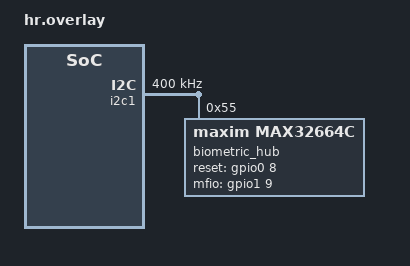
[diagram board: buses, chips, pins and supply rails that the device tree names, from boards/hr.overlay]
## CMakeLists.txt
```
# Copyright (c) 2025 ZSWatch Project
# SPDX-License-Identifier: Apache-2.0

if(CONFIG_SENSOR_MAX32664C)
  zephyr_include_directories(include)
endif()

add_subdirectory_ifdef(CONFIG_SENSOR drivers)
```

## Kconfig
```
menu "Zephyr Kernel"
    source "Kconfig.zephyr"
endmenu

menu "HR-Demo"
    menu "Custom drivers"
        rsource "drivers/Kconfig"
    endmenu
endmenu
```

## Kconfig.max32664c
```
# Copyright (c) 2025 ZSWatch Project
# SPDX-License-Identifier: Apache-2.0

rsource "drivers/Kconfig"
```

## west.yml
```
manifest:
  self:
    path: max32664c

  remotes:
    - name: sdk
      url-base: https://github.com/nrfconnect

  group-filter:
    - -optional

  projects:
    - name: sdk-nrf
      remote: sdk
      revision: v3.0.2
      path: nrf
      import:
        name-blocklist:
          - ci-tools
          - hal_altera
          - hal_cypress
          - hal_infineon
          - hal_microchip
          - hal_nxp
          - hal_openisa
          - hal_silabs
          - hal_xtensa
          - hal_ti
          - loramac-node
          - net-tools
          - edtt
          - trusted-firmware-m
          - sof
          - matter
      clone-depth: 1
```

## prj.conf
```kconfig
CONFIG_CLOCK_CONTROL=y
CONFIG_CLOCK_CONTROL_NRF_K32SRC_RC=y

CONFIG_SENSOR=y

CONFIG_LOG=y
CONFIG_LOG_PRINTK=y
CONFIG_I2C=y

CONFIG_HEAP_MEM_POOL_SIZE=16384

CONFIG_BT=y
CONFIG_BT_SMP=y
CONFIG_BT_PERIPHERAL=y
CONFIG_BT_DIS=y
CONFIG_BT_DIS_PNP=n
CONFIG_BT_BAS=y
CONFIG_BT_HRS=y
CONFIG_BT_DEVICE_NAME="Zephyr Heartrate Sensor"
CONFIG_BT_DEVICE_APPEARANCE=833

CONFIG_DEBUG_OPTIMIZATIONS=y
CONFIG_USE_SEGGER_RTT=y
CONFIG_LOG_BACKEND_RTT=y
CONFIG_LOG_BACKEND_RTT_MODE_BLOCK=y
CONFIG_LOG_BUFFER_SIZE=4096
CONFIG_LOG_BACKEND_RTT_OUTPUT_BUFFER_SIZE=128
CONFIG_LOG_BLOCK_IN_THREAD=y

CONFIG_MAXIM_MAX32664C_LOG_LEVEL_INF=y
CONFIG_MAX32664C_USE_MAX86141=y
CONFIG_MAX32664C_ACC_ID=0x43
```

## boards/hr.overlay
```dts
/ {
    aliases {
        sensor = &biometric_hub;
    };
};

&i2c1 {
    compatible = "nordic,nrf-twim";
    status = "okay";
    clock-frequency = <400000>;
    zephyr,flash-buf-max-size = <8250>;
};

&i2c1 {
    biometric_hub: max32664c@55 {
        compatible = "maxim,max32664c";
        reg = <0x55>;
        status = "okay";
        reset-gpios = <&gpio0 8 GPIO_ACTIVE_HIGH>;
        mfio-gpios = <&gpio1 9 GPIO_ACTIVE_HIGH>;
        motion-time = <200>;
        motion-threshold = <500>;
    };
};
```

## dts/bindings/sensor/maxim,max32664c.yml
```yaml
description: |
  The MAX32664 is a ultra-low power biometric sensor hub.

  NOTES:
  This driver is primarily written to work with a MAX86141. Other sensors can be
  used but they are untested! The driver supports up to two photodetectors (PDs)
  and three LEDs fix. It requires a specific LED
  configuration for the MAX86141.
    LED1 -> Green
    LED2 -> IR
    LED3 -> Red
  The LEDs can be changed manually but this may require changes in the driver.

  This driver is tested with Sensor Hub firmware 30.13.31 and an external
  Accelerometer (e.g. LIS2DH12).

  See more info at:
  https://www.analog.com/media/en/technical-documentation/data-sheets/MAX32664.pdf

compatible: "maxim,max32664c"

include: [sensor-device.yaml, i2c-device.yaml]

properties:
  reset-gpios:
    type: phandle-array
    required: true
    description:
      External System Reset (Active-Low) Input.

  mfio-gpios:
    type: phandle-array
    required: true
    description:
      MFIO asserts low as an output when the sensor hub needs to
      communication with the host; MFIO acts as an input and when held
      low during a reset, the sensor hub enters bootloader mode.

  use-max86141:
    type: boolean
    description:
      Use the MAX86141 as the AFE for the MAX32664C. This is the
      default and recommended configuration. The driver is optimized for
      this sensor.

  use-max86161:
    type: boolean
    description:
      Use the MAX86161 as the AFE for the MAX32664C.

  motion-time:
    type: int
    default: 200
    description:
      Sensor Hub configuration - Motion activation time in milliseconds.
      The default corresponds to Table 12 in the HR and SpO2 User guide.

  motion-threshold:
    type: int
    default: 500
    description:
      Sensor Hub configuration - Motion activation time in milli-g.
      The default corresponds to Table 12 in the HR and SpO2 User guide.

  report-period:
    type: int
    default: 1
    description:
      Sensor Hub configuration - Set the samples report period (e.g., a value
      of 25 means a samples report is generated once every 25 samples).
      The default corresponds to Table 16 in the HR and SpO2 User guide.

  spo2-calib:
    type: array
    default: [0xFFE69196, 0x000CB735, 0x00989680]
    description:
      Algorithm configuration - SpO2 calibration coefficients.
      The default corresponds to Table 12 in the HR and SpO2 User guide.

  min-integration-time:
    type: int
    default: 14
    enum:
      - 14
      - 29
      - 58
      - 117
    description:
      Algorithm configuration - Minimum integration time in microseconds.
      The default corresponds to Table 11 in the HR and SpO2 User guide.

  min-sampling-rate:
    type: int
    default: 50
    enum:
      - 25
      - 50
      - 100
      - 200
      - 400
    description:
      Algorithm configuration - Minimum sampling rate (samples per second)
      and averaging (samples).
      The default corresponds to Table 11 in the HR and SpO2 User guide.

  max-integration-time:
    type: int
    default: 117
    enum:
      - 14
      - 29
      - 58
      - 117
    description:
      Algorithm configuration - Maximum integration time in microseconds.
      The default corresponds to Table 11 in the HR and SpO2 User guide.

  max-sampling-rate:
    type: int
    default: 100
    enum:
      - 25
      - 50
      - 100
      - 200
      - 400
    description:
      Algorithm configuration - Maximum sampling rate (samples per second)
      and averaging (samples).
      The default corresponds to Table 11 in the HR and SpO2 User guide.

  led-current:
    type: uint8-array
    default: [0x7F, 0x7F, 0x7F]
    description:
      Initial LED current configuration in bits. Please check the datasheet
      of the attached AFE to determine the appropriate values.
      The current can also be changed later by the firmware.
      Index 0 corresponds to LED1, index 1 to LED2, and index 2 to LED3.
      The default corresponds to Table 5 in the HR and SpO2 User guide.

  hr-config:
    type: uint8-array
    default: [0x00, 0x01]
    description:
      Algorithm configuration - LED and PD configuration for the heartrate measurement.
      The first entry configures channel 1, the second channel 2.
      The default corresponds to Table 15 in the HR and SpO2 User guide.

  spo2-config:
    type: uint8-array
    default: [0x10, 0x20]
    description:
      Algorithm configuration - LED and PD configuration for the SpO2 measurement.
      The first entry configures the IR channel, the second the red channel.
      The default corresponds to Table 15 in the HR and SpO2 User guide.

  led-config:
    type: uint8-array
    default: [0x12, 0x30, 0x00]
    description:
      Algorithm configuration - LED configuration for HR and SpO2 measurement.
      The first entry configures slot 1 and 2, the second configures slot 4 and 5 and
      the last entry configures slot 5 and 6.
      The default corresponds to Table 15 in the HR and SpO2 User guide.
      Slot 1 = LED 1, Slot 2 = LED 2, Slot 3 = LED 3.
```

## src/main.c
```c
#include <zephyr/kernel.h>
#include <zephyr/devicetree.h>
#include <zephyr/logging/log.h>
#include <zephyr/drivers/sensor.h>

#include <zephyr/bluetooth/bluetooth.h>
#include <zephyr/bluetooth/hci.h>
#include <zephyr/bluetooth/conn.h>
#include <zephyr/bluetooth/uuid.h>
#include <zephyr/bluetooth/gatt.h>
#include <zephyr/bluetooth/services/bas.h>
#include <zephyr/bluetooth/services/hrs.h>

#include "Loader/max32664c_bl.h"
#include "firmware/max32664c_kx122_z_32_9_23.h"
#include "firmware/MAX32664C_HSP2_WHRM_AEC_SCD_WSPO2_C_30_13_31.h"

#include "../drivers/sensor/max32664c/max32664c.h"

#define BLE_CONNECTED               1U
#define BLE_DISCONNECTED            2U

static void auth_cancel(struct bt_conn *conn);
static void hrs_ntf_changed(bool enabled);
static void connected(struct bt_conn *conn, uint8_t err);
static void disconnected(struct bt_conn *conn, uint8_t reason);

static ATOMIC_DEFINE(state, 2U);
static bool hrf_ntf_enabled;

static const struct bt_data ad[] = {
    BT_DATA_BYTES(BT_DATA_FLAGS, (BT_LE_AD_GENERAL | BT_LE_AD_NO_BREDR)),
    BT_DATA_BYTES(BT_DATA_UUID16_ALL,
                BT_UUID_16_ENCODE(BT_UUID_HRS_VAL),
                BT_UUID_16_ENCODE(BT_UUID_BAS_VAL),
                BT_UUID_16_ENCODE(BT_UUID_DIS_VAL)),
};

static struct bt_conn_auth_cb auth_cb_display = {
    .cancel = auth_cancel,
};

static struct bt_hrs_cb hrs_cb = {
    .ntf_changed = hrs_ntf_changed,
};

struct bt_le_adv_param adv_param = {
    .options = BT_LE_ADV_OPT_CONNECTABLE | BT_LE_ADV_OPT_USE_NAME,
    .interval_min = BT_GAP_ADV_SLOW_INT_MIN,
    .interval_max = BT_GAP_ADV_SLOW_INT_MAX,
};

const struct device *const sensor_hub = DEVICE_DT_GET(DT_ALIAS(sensor));

BT_CONN_CB_DEFINE(conn_callbacks) = {
    .connected = connected,
    .disconnected = disconnected,
};

LOG_MODULE_REGISTER(main, LOG_LEVEL_DBG);

void auth_cancel(struct bt_conn *conn)
{
    char addr[BT_ADDR_LE_STR_LEN];

    bt_addr_le_to_str(bt_conn_get_dst(conn), addr, sizeof(addr));

    LOG_INF("Pairing cancelled: %s", addr);
}

void hrs_ntf_changed(bool enabled)
{
    hrf_ntf_enabled = enabled;

    LOG_INF("HRS notification status changed: %s\n", enabled ? "enabled" : "disabled");
}

static void connected(struct bt_conn *conn, uint8_t err)
{
    if (err) {
        LOG_ERR("Connection failed, err 0x%02x %s", err, bt_hci_err_to_str(err));
    } else {
        LOG_INF("Connected");

        atomic_set_bit(state, BLE_CONNECTED);
    }
}

static void disconnected(struct bt_conn *conn, uint8_t reason)
{
    LOG_INF("Disconnected, reason 0x%02x %s", reason, bt_hci_err_to_str(reason));

    atomic_set_bit(state, BLE_DISCONNECTED);
}

static void hrs_notify(void)
{
    struct sensor_value value;

    sensor_sample_fetch(sensor_hub);
    sensor_attr_get(sensor_hub, SENSOR_CHAN_HEARTRATE, SENSOR_ATTR_OP_MODE, &value);
    if (value.val1 == MAX32664C_OP_MODE_RAW) {
        struct sensor_value x;
        struct sensor_value y;
        struct sensor_value z;

        LOG_INF("Raw mode");

        sensor_channel_get(sensor_hub, SENSOR_CHAN_ACCEL_X, &x);
        sensor_channel_get(sensor_hub, SENSOR_CHAN_ACCEL_Y, &y);
        sensor_channel_get(sensor_hub, SENSOR_CHAN_ACCEL_Z, &z);

        LOG_INF("\tx: %i", x.val1);
        LOG_INF("\ty: %i", y.val1);
        LOG_INF("\tz: %i", z.val1);
    } else if (value.val1 == MAX32664C_OP_MODE_ALGO_AEC) {
        struct sensor_value hr;

        sensor_channel_get(sensor_hub, SENSOR_CHAN_HEARTRATE, &hr);
        LOG_INF("HR: %u", hr.val1);
        LOG_INF("Confidence: %u", hr.val2);

        if (hrf_ntf_enabled) {
            bt_hrs_notify(hr.val1);
        }
    }
}

static const struct gpio_dt_spec led_en = GPIO_DT_SPEC_GET(DT_ALIAS(led0), gpios);

int main(void)
{
    struct sensor_value value;

    if (!device_is_ready(sensor_hub)) {
        LOG_ERR("Sensor hub not ready!");
    }
    LOG_INF("Sensor hub ready");

	if (!gpio_is_ready_dt(&led_en)) {
		return 0;
	}

	if (gpio_pin_configure_dt(&led_en, GPIO_OUTPUT_ACTIVE)) {
		return 0;
	}

    gpio_pin_set_dt(&led_en, 1);

    //max32664c_bl_enter(sensor_hub, MAX32664C_HSP2_WHRM_AEC_SCD_WSPO2_C_30_13_31, sizeof(MAX32664C_HSP2_WHRM_AEC_SCD_WSPO2_C_30_13_31));
    //max32664c_bl_leave(sensor_hub);

    if (bt_enable(NULL)) {
        LOG_ERR("Bluetooth init failed!");
        return 0;
    }

    bt_conn_auth_cb_register(&auth_cb_display);
    bt_hrs_cb_register(&hrs_cb);

    LOG_INF("Starting Legacy Advertising (connectable and scannable)");
    int32_t err = bt_le_adv_start(&adv_param, ad, ARRAY_SIZE(ad), NULL, 0);
    if (err) {
        LOG_ERR("Advertising failed to start! %i", err);
        return 0;
    }
    LOG_INF("Advertising successfully started");

    value.val1 = MAX32664C_OP_MODE_RAW;
    //value.val1 = MAX32664C_OP_MODE_ALGO_AEC;
    value.val2 = MAX32664C_ALGO_MODE_CONT_HR_CONT_SPO2;
    sensor_attr_set(sensor_hub, SENSOR_CHAN_HEARTRATE, SENSOR_ATTR_OP_MODE, &value);

    while(1)
    {
        hrs_notify();

        if (atomic_test_bit(state, BLE_CONNECTED)) {
            LOG_INF("Connected!");
        }

        if (atomic_test_and_clear_bit(state, BLE_CONNECTED)) {
        } else if (atomic_test_and_clear_bit(state, BLE_DISCONNECTED)) {
        }

        k_msleep(1000);
    }

    return 0;
}
```
